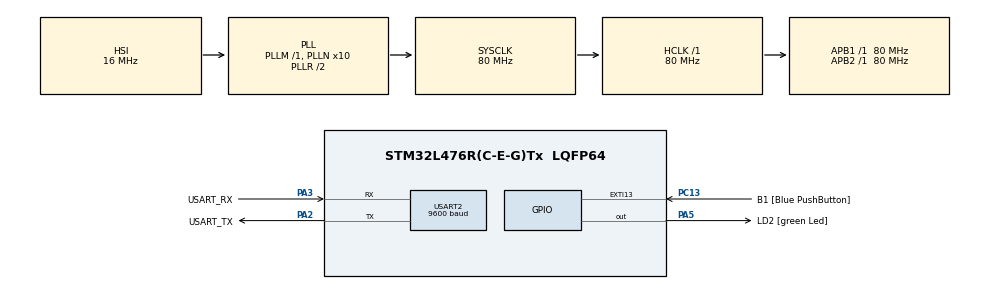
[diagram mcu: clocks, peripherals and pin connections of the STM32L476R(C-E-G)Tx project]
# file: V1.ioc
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Mcu.Family=STM32L4
Mcu.Name=STM32L476R(C-E-G)Tx
Mcu.Package=LQFP64
NVIC.PriorityGroup=NVIC_PRIORITYGROUP_4
PA13\ (JTMS-SWDIO).GPIO_Label=TMS
PA13\ (JTMS-SWDIO).Mode=Serial_Wire
PA13\ (JTMS-SWDIO).Signal=SYS_JTMS-SWDIO
PA14\ (JTCK-SWCLK).GPIO_Label=TCK
PA14\ (JTCK-SWCLK).Mode=Serial_Wire
PA14\ (JTCK-SWCLK).Signal=SYS_JTCK-SWCLK
PA2.GPIO_Label=USART_TX
PA2.GPIO_Mode=GPIO_MODE_AF_PP
PA2.GPIO_PuPd=GPIO_NOPULL
PA2.GPIO_Speed=GPIO_SPEED_FREQ_VERY_HIGH
PA2.Mode=Asynchronous
PA2.Signal=USART2_TX
PA3.GPIO_Label=USART_RX
PA3.GPIO_Mode=GPIO_MODE_AF_PP
PA3.GPIO_PuPd=GPIO_NOPULL
PA3.GPIO_Speed=GPIO_SPEED_FREQ_VERY_HIGH
PA3.Mode=Asynchronous
PA3.Signal=USART2_RX
PA5.GPIO_Label=LD2 [green Led]
PA5.GPIO_ModeDefaultOutputPP=GPIO_MODE_OUTPUT_PP
PA5.GPIO_PuPd=GPIO_NOPULL
PA5.GPIO_Speed=GPIO_SPEED_FREQ_LOW
PA5.Signal=GPIO_Output
PB3\ (JTDO-TRACESWO).GPIO_Label=SWO
PB3\ (JTDO-TRACESWO).Signal=SYS_JTDO-SWO
PC13.GPIO_Label=B1 [Blue PushButton]
PC13.GPIO_ModeDefaultEXTI=GPIO_MODE_IT_FALLING
PC13.GPIO_PuPd=GPIO_NOPULL
PC13.Signal=GPXTI13
PC14-OSC32_IN\ (PC14).Mode=LSE-External-Oscillator
PC14-OSC32_IN\ (PC14).Signal=RCC_OSC32_IN
PC15-OSC32_OUT\ (PC15).Mode=LSE-External-Oscillator
PC15-OSC32_OUT\ (PC15).Signal=RCC_OSC32_OUT
PH0-OSC_IN\ (PH0).Signal=RCC_OSC_IN
PH1-OSC_OUT\ (PH1).Signal=RCC_OSC_OUT
ProjectManager.HeapSize=0x200
ProjectManager.StackSize=0x800
ProjectManager.TargetToolchain=STM32CubeIDE
RCC.ADCFreq_Value=64000000
RCC.AHBFreq_Value=80000000
RCC.APB1Freq_Value=80000000
RCC.APB1TimFreq_Value=80000000
RCC.APB2Freq_Value=80000000
RCC.APB2TimFreq_Value=80000000
RCC.CortexFreq_Value=80000000
RCC.HCLKFreq_Value=80000000
RCC.HSE_VALUE=8000000
RCC.HSI_VALUE=16000000
RCC.MSI_VALUE=4000000
RCC.PLLN=10
RCC.PLLSourceVirtual=RCC_PLLSOURCE_HSI
RCC.PREFETCH_ENABLE=1
RCC.SYSCLKFreq_VALUE=80000000
RCC.SYSCLKSource=RCC_SYSCLKSOURCE_PLLCLK
RCC.USBFreq_Value=64000000
RCC.VCOOutputFreq_Value=160000000
USART2.BaudRate=9600
USART2.VirtualMode-Asynchronous=VM_ASYNC
board=NUCLEO-L476RG

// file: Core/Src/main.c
/* USER CODE BEGIN Header */
/**
  ******************************************************************************
  * @file           : main.c
  * @brief          : Main program body
  ******************************************************************************
  * @attention
  *
  * <h2><center>&copy; Copyright (c) 2022 STMicroelectronics.
  * All rights reserved.</center></h2>
  *
  * This software component is licensed by ST under BSD 3-Clause license,
  * the "License"; You may not use this file except in compliance with the
  * License. You may obtain a copy of the License at:
  *                        opensource.org/licenses/BSD-3-Clause
  *
  ******************************************************************************
  */
/* USER CODE END Header */
#include "main.h"

/* USER CODE BEGIN Includes */
#include <stdio.h>
#include "string.h"
#include <stdint.h>
#include <stdarg.h>
#include "welch.h"
#include "waveData.h"
#include "WaveFunctions.h"
#include "math.h"
/* USER CODE END Includes */

UART_HandleTypeDef huart2;
//extern float32_t testOutput[TEST_LENGTH_SAMPLES];
float32_t *outputF32, *inputF32;

void SystemClock_Config(void);
static void MX_GPIO_Init(void);
static void MX_USART2_UART_Init(void);
/* USER CODE BEGIN PFP */
void printmsg(char *format,...);
/* USER CODE END PFP */

int main(void)
{

  /* MCU Configuration--------------------------------------------------------*/

  /* Reset of all peripherals, Initializes the Flash interface and the Systick. */
  HAL_Init();

  /* Configure the system clock */
  SystemClock_Config();

  /* Initialize all configured peripherals */
  MX_GPIO_Init();
  MX_USART2_UART_Init();
  /* USER CODE BEGIN 2 */
  printmsg("DSP Pipeline V1 Start!\r\n");
  uint32_t i;

  	calibrate(rawData, dataOutput);

	for (i = 0; i < RAW_DATA_LENGTH ; i++)
	{
		//printmsg("%f \r\n", dataOutput[i]);
	}

	detrend(dataOutput, dataOutput);

	for (i = 0; i < RAW_DATA_LENGTH ; i++)
	{
		//printmsg("%f \r\n", dataOutput[i]);
	}

	FourStepDFT(dataOutput, testOutput);

	for (i = 0; i < RAW_DATA_LENGTH ; i++)
	{
		printmsg("%f \r\n", testOutput[i]);
	}

  /* USER CODE END 2 */

  /* Infinite loop */
  while (1)
  {

  }
}

void SystemClock_Config(void)
{
  RCC_OscInitTypeDef RCC_OscInitStruct = {0};
  RCC_ClkInitTypeDef RCC_ClkInitStruct = {0};
  RCC_PeriphCLKInitTypeDef PeriphClkInit = {0};

  /** Initializes the RCC Oscillators according to the specified parameters
  * in the RCC_OscInitTypeDef structure.
  */
  RCC_OscInitStruct.OscillatorType = RCC_OSCILLATORTYPE_HSI;
  RCC_OscInitStruct.HSIState = RCC_HSI_ON;
  RCC_OscInitStruct.HSICalibrationValue = RCC_HSICALIBRATION_DEFAULT;
  RCC_OscInitStruct.PLL.PLLState = RCC_PLL_ON;
  RCC_OscInitStruct.PLL.PLLSource = RCC_PLLSOURCE_HSI;
  RCC_OscInitStruct.PLL.PLLM = 1;
  RCC_OscInitStruct.PLL.PLLN = 10;
  RCC_OscInitStruct.PLL.PLLP = RCC_PLLP_DIV7;
  RCC_OscInitStruct.PLL.PLLQ = RCC_PLLQ_DIV2;
  RCC_OscInitStruct.PLL.PLLR = RCC_PLLR_DIV2;
  if (HAL_RCC_OscConfig(&RCC_OscInitStruct) != HAL_OK)
  {
    Error_Handler();
  }
  /** Initializes the CPU, AHB and APB buses clocks
  */
  RCC_ClkInitStruct.ClockType = RCC_CLOCKTYPE_HCLK|RCC_CLOCKTYPE_SYSCLK
                              |RCC_CLOCKTYPE_PCLK1|RCC_CLOCKTYPE_PCLK2;
  RCC_ClkInitStruct.SYSCLKSource = RCC_SYSCLKSOURCE_PLLCLK;
  RCC_ClkInitStruct.AHBCLKDivider = RCC_SYSCLK_DIV1;
  RCC_ClkInitStruct.APB1CLKDivider = RCC_HCLK_DIV1;
  RCC_ClkInitStruct.APB2CLKDivider = RCC_HCLK_DIV1;

  if (HAL_RCC_ClockConfig(&RCC_ClkInitStruct, FLASH_LATENCY_4) != HAL_OK)
  {
    Error_Handler();
  }
  PeriphClkInit.PeriphClockSelection = RCC_PERIPHCLK_USART2;
  PeriphClkInit.Usart2ClockSelection = RCC_USART2CLKSOURCE_PCLK1;
  if (HAL_RCCEx_PeriphCLKConfig(&PeriphClkInit) != HAL_OK)
  {
    Error_Handler();
  }
  /** Configure the main internal regulator output voltage
  */
  if (HAL_PWREx_ControlVoltageScaling(PWR_REGULATOR_VOLTAGE_SCALE1) != HAL_OK)
  {
    Error_Handler();
  }
}

static void MX_USART2_UART_Init(void)
{

  huart2.Instance = USART2;
  huart2.Init.BaudRate = 115200;
  huart2.Init.WordLength = UART_WORDLENGTH_8B;
  huart2.Init.StopBits = UART_STOPBITS_1;
  huart2.Init.Parity = UART_PARITY_NONE;
  huart2.Init.Mode = UART_MODE_TX_RX;
  huart2.Init.HwFlowCtl = UART_HWCONTROL_NONE;
  huart2.Init.OverSampling = UART_OVERSAMPLING_16;
  huart2.Init.OneBitSampling = UART_ONE_BIT_SAMPLE_DISABLE;
  huart2.AdvancedInit.AdvFeatureInit = UART_ADVFEATURE_NO_INIT;
  if (HAL_UART_Init(&huart2) != HAL_OK)
  {
    Error_Handler();
  }

}

static void MX_GPIO_Init(void)
{
  GPIO_InitTypeDef GPIO_InitStruct = {0};

  /* GPIO Ports Clock Enable */
  __HAL_RCC_GPIOC_CLK_ENABLE();
  __HAL_RCC_GPIOH_CLK_ENABLE();
  __HAL_RCC_GPIOA_CLK_ENABLE();
  __HAL_RCC_GPIOB_CLK_ENABLE();

  /*Configure GPIO pin Output Level */
  HAL_GPIO_WritePin(LD2_GPIO_Port, LD2_Pin, GPIO_PIN_RESET);

  /*Configure GPIO pin : B1_Pin */
  GPIO_InitStruct.Pin = B1_Pin;
  GPIO_InitStruct.Mode = GPIO_MODE_IT_FALLING;
  GPIO_InitStruct.Pull = GPIO_NOPULL;
  HAL_GPIO_Init(B1_GPIO_Port, &GPIO_InitStruct);

  /*Configure GPIO pin : LD2_Pin */
  GPIO_InitStruct.Pin = LD2_Pin;
  GPIO_InitStruct.Mode = GPIO_MODE_OUTPUT_PP;
  GPIO_InitStruct.Pull = GPIO_NOPULL;
  GPIO_InitStruct.Speed = GPIO_SPEED_FREQ_LOW;
  HAL_GPIO_Init(LD2_GPIO_Port, &GPIO_InitStruct);

}

/* USER CODE BEGIN 4 */
void printmsg(char *format,...) {
    char str[30];

    /*Extract the the argument list using VA apis */
    va_list args;
    va_start(args, format);
    vsprintf(str, format,args);
    HAL_UART_Transmit(&huart2,(uint8_t *)str, strlen(str),HAL_MAX_DELAY);
    va_end(args);
}
/* USER CODE END 4 */

void Error_Handler(void)
{
}

/************************ (C) COPYRIGHT STMicroelectronics *****END OF FILE****/
